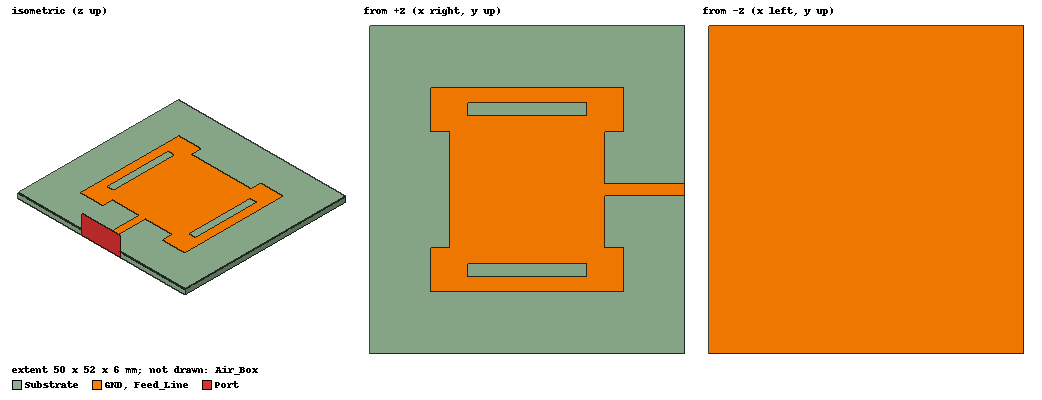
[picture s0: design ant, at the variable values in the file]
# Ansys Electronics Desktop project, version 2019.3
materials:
  FR4_epoxy: permittivity=4.4 dielectric_loss_tangent=0.02
  vacuum: permittivity=1

design ant (HFSS, DrivenModal, model units mm)
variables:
  subx = 50mm
  suby = 52mm
  subz = 1.6mm
  gndx = subx
  patchy = 32.45mm
  patchx = 30.63mm
  linew = 2mm  # optimise 1mm..5mm
  linex = subx/2
  portw = 12mm
  porth = 6mm
  boxz = 60mm
  boxy = 80mm
  boxx = 80mm
  sub1_y = 18mm
  sub1_x = 8mm
  slot1_x = 3mm  # optimise 0mm..5mm
  slot1_y = 18.5mm  # optimise 0mm..30mm
  slot2_y = 2mm  # optimise 0mm..4mm
  slot2_x = 19mm  # optimise 0mm..30mm
  gndslot_x = 8mm
  gndslot_y = 16mm
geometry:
  Substrate [FR4_epoxy] = box(corner=(-subx/2, -suby/2, 0mm), size=(subx, suby, subz))
  GND = rectangle(corner=(subx/2, -suby/2, 0), x_size=-gndx, y_size=suby)
  Upper_Patch = rectangle(corner=(-patchx/2, -patchy/2, subz), x_size=patchx, y_size=patchy)
  Port = rectangle(corner=(subx/2, -portw/2, 0), y_size=portw, z_size=porth)
  Air_Box [vacuum] = box(corner=(subx/2, -boxy/2, 0), size=(-boxx, boxy, boxz))
  Feed_Line = rectangle(corner=(subx/2, -linew/2, subz), x_size=-linex+(patchx/2)-slot1_x, y_size=linew)
  Sub1 = rectangle(corner=(patchx/2, -slot1_y/2, subz), x_size=-slot1_x, y_size=slot1_y)
  Sub2 = rectangle(corner=(-patchx/2, -slot1_y/2, subz), x_size=slot1_x, y_size=slot1_y)
  Upper_Patch.subtract(Sub1, Sub2)
  Sub3 = rectangle(corner=(-slot2_x/2, slot1_y/2+(patchy/2-slot1_y/2)/2-slot2_y/2, subz), x_size=slot2_x, y_size=slot2_y)
  Sub4 = rectangle(corner=(-slot2_x/2, -(slot1_y/2+(patchy/2-slot1_y/2)/2-slot2_y/2), subz), x_size=slot2_x, y_size=-slot2_y)
  Upper_Patch.subtract(Sub3, Sub4)
  Feed_Line.unite(Upper_Patch)
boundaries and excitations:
  Rad1: Radiation Objects=Air_Box
  PerfE1: Perfect E Objects=[GND, Feed_Line]
  1: Wave Port Objects=Port NumModes=1 Modes{Mode1{CharImp=Zpi}}
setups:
  Setup1: HfssDriven Frequency=2.45GHz MaxDeltaS=0.02 MaximumPasses=10 MinimumPasses=1 MinimumConvergedPasses=1 PercentRefinement=30 BasisOrder=1 PortAccuracy=2
    sweep Sweep: 2.3GHz to 2.6GHz step 0.002GHz; Type=Fast SaveFields
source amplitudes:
  1:1: 1W 0deg
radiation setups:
  Infinite Sphere1: Infinite Sphere Theta=0deg..180deg step 2deg Phi=-180deg..180deg step 2deg
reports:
  S Parameter Plot 1: dB(S(1,1)) vs Freq on Setup1 : Sweep; markers MY1 at y=-10.0145
  Gain Plot 1: dB(GainTotal) vs Phi, Theta on Setup1 : LastAdaptive, Infinite Sphere1 [Freq=2.45GHz]
